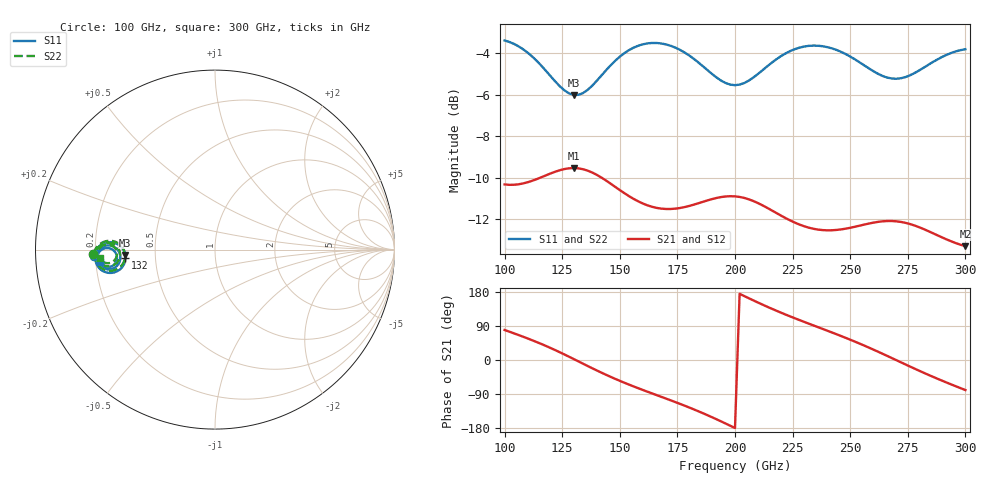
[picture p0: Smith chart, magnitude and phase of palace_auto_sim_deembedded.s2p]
! Created with skrf 1.11.0 (http://scikit-rf.org).
# GHz S DB R 50.0
!freq dBS11 angS11 dBS21 angS21 dBS12 angS12 dBS22 angS22
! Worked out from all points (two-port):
!   101 points, 100 GHz to 300 GHz, reference 50 ohm
!   highest |S21| = -9.53 dB at 130 GHz (marker M1); lowest = -13.3 dB at 300 GHz (marker M2)
!   |S21| within 3 dB of the highest: start of sweep to 239.8 GHz; 241.1 GHz to 283.1 GHz (41.96 GHz wide, 16 % of centre)
!   lowest |S11| = -6.0 dB at 130 GHz (marker M3), VSWR 3.01, Z = 16.6 - j1.35 ohm
!   |S11| at or under -10 dB: nowhere
!   |S22| runs from -6.0 to -3.4 dB; largest |S21 - S12| = 4.3e-14
!   S11 on the Smith chart (normalised r, x): 100 GHz: 0.19, -0.02; 132 GHz: 0.33, -0.04; 300 GHz: 0.22, -0.05
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100  -3.38 -177.2  -10.32 79.2  -10.32 79.2  -3.38 -177.9
116  -4.60 176.0  -9.97 42.1  -9.97 42.1  -4.59 175.2
124  -5.59 178.1  -9.64 20.3  -9.64 20.3  -5.57 177.3
130  -6.01 -176.5  -9.53 2.5  -9.53 2.5  -5.99 -177.5
132  -6.00 -174.4  -9.55 -3.5  -9.55 -3.5  -5.98 -175.4
134  -5.92 -172.4  -9.59 -9.6  -9.59 -9.6  -5.90 -173.4
142  -5.07 -167.5  -9.99 -33.3  -9.99 -33.3  -5.06 -168.6
148  -4.36 -167.6  -10.44 -49.8  -10.44 -49.8  -4.35 -168.8
158  -3.63 -171.6  -11.14 -74.4  -11.14 -74.4  -3.63 -172.8
168  -3.53 -176.8  -11.49 -97.2  -11.49 -97.2  -3.52 -178.1
184  -4.43 177.8  -11.23 -135.0  -11.23 -135.0  -4.43 176.4
192  -5.17 179.2  -10.97 -156.5  -10.97 -156.5  -5.16 177.7
200  -5.54 -175.7  -10.90 -179.5  -10.90 -179.5  -5.53 -177.3
208  -5.16 -170.7  -11.12 157.2  -11.12 157.2  -5.16 -172.3
216  -4.45 -169.4  -11.58 135.2  -11.58 135.2  -4.45 -171.0
224  -3.89 -171.2  -12.06 114.9  -12.06 114.9  -3.90 -172.9
234  -3.63 -175.1  -12.46 91.3  -12.46 91.3  -3.64 -176.9
252  -4.29 179.3  -12.36 48.6  -12.36 48.6  -4.30 177.4
268  -5.22 -176.6  -12.09 5.3  -12.09 5.3  -5.23 -178.6
276  -5.06 -172.5  -12.23 -17.4  -12.23 -17.4  -5.08 -174.5
284  -4.55 -170.7  -12.58 -39.3  -12.58 -39.3  -4.57 -172.7
300  -3.80 -173.7  -13.30 -79.3  -13.30 -79.3  -3.82 -176.0
